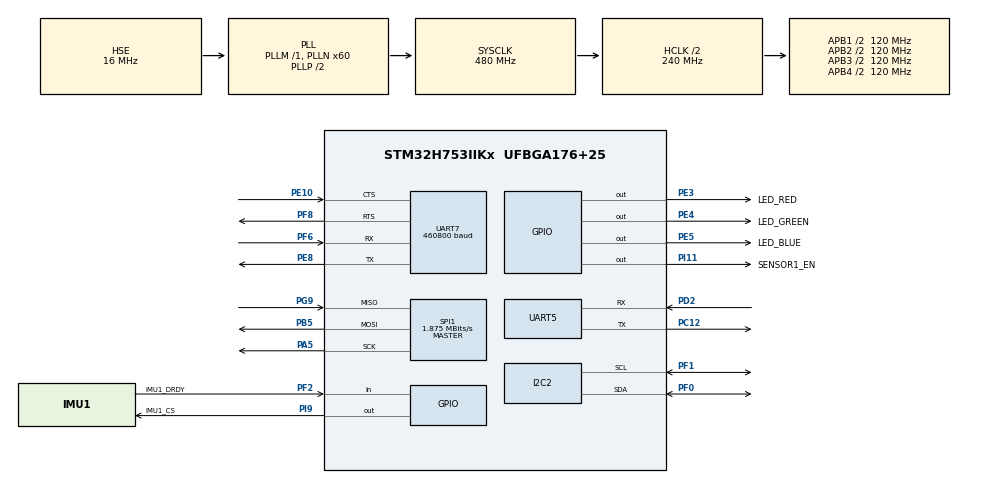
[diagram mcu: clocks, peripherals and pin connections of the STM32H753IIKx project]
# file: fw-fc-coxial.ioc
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CORTEX_M7.default_mode_Activation=1
FREERTOS.Tasks01=Led_Blink,24,1024,Led_blink,Default,NULL,Dynamic,NULL,NULL;IMU_Task,49,256,IMU_task,Default,NULL,Dynamic,NULL,NULL;Barometers_Task,43,256,Barometers_task,Default,NULL,Dynamic,NULL,NULL;Op_Flo_Task,43,256,Op_Flo_task,Default,NULL,Dynamic,NULL,NULL
FREERTOS.configTOTAL_HEAP_SIZE=30000
FREERTOS.configUSE_NEWLIB_REENTRANT=1
I2C2.Timing=0x307075B1
Mcu.Family=STM32H7
Mcu.Name=STM32H753IIKx
Mcu.Package=UFBGA176+25
NVIC.PriorityGroup=NVIC_PRIORITYGROUP_4
NVIC.TIM17_IRQn=true\:15\:0\:false\:false\:true\:false\:false\:true\:true
NVIC.TimeBase=TIM17_IRQn
NVIC.TimeBaseIP=TIM17
NVIC.UART5_IRQn=true\:5\:0\:false\:false\:true\:true\:true\:true\:true
NVIC.UART7_IRQn=true\:5\:0\:false\:false\:true\:true\:true\:true\:true
PA13\ (JTMS/SWDIO).Mode=Serial_Wire
PA13\ (JTMS/SWDIO).Signal=DEBUG_JTMS-SWDIO
PA14\ (JTCK/SWCLK).Mode=Serial_Wire
PA14\ (JTCK/SWCLK).Signal=DEBUG_JTCK-SWCLK
PA5.Mode=Full_Duplex_Master
PA5.Signal=SPI1_SCK
PB5.Mode=Full_Duplex_Master
PB5.Signal=SPI1_MOSI
PC12.Mode=Asynchronous
PC12.Signal=UART5_TX
PD2.Mode=Asynchronous
PD2.Signal=UART5_RX
PE10.Mode=CTS_RTS
PE10.Signal=UART7_CTS
PE3.GPIO_Label=LED_RED
PE3.Signal=GPIO_Output
PE4.GPIO_Label=LED_GREEN
PE4.Signal=GPIO_Output
PE5.GPIO_Label=LED_BLUE
PE5.Signal=GPIO_Output
PE8.Mode=Asynchronous
PE8.Signal=UART7_TX
PF0.Mode=I2C
PF0.Signal=I2C2_SDA
PF1.Mode=I2C
PF1.Signal=I2C2_SCL
PF2.GPIO_Label=IMU1_DRDY
PF2.Signal=GPIO_Input
PF6.Mode=Asynchronous
PF6.Signal=UART7_RX
PF8.Mode=CTS_RTS
PF8.Signal=UART7_RTS
PG9.Mode=Full_Duplex_Master
PG9.Signal=SPI1_MISO
PH0-OSC_IN\ (PH0).Mode=HSE-External-Oscillator
PH0-OSC_IN\ (PH0).Signal=RCC_OSC_IN
PH1-OSC_OUT\ (PH1).Mode=HSE-External-Oscillator
PH1-OSC_OUT\ (PH1).Signal=RCC_OSC_OUT
PI11.GPIO_Label=SENSOR1_EN
PI11.Signal=GPIO_Output
PI9.GPIO_Label=IMU1_CS
PI9.PinState=GPIO_PIN_SET
PI9.Signal=GPIO_Output
ProjectManager.HeapSize=0x200
ProjectManager.StackSize=0x400
ProjectManager.TargetToolchain=STM32CubeIDE
RCC.ADCFreq_Value=32250000
RCC.APB1Freq_Value=120000000
RCC.APB2Freq_Value=120000000
RCC.APB3Freq_Value=120000000
RCC.APB4Freq_Value=120000000
RCC.CortexFreq_Value=480000000
RCC.D1PPRE=RCC_APB3_DIV2
RCC.D2PPRE1=RCC_APB1_DIV2
RCC.D2PPRE2=RCC_APB2_DIV2
RCC.D3PPRE=RCC_APB4_DIV2
RCC.DIVM1=1
RCC.DIVN1=60
RCC.DIVQ1=8
RCC.HCLKFreq_Value=240000000
RCC.HPRE=RCC_HCLK_DIV2
RCC.HSE_VALUE=16000000
RCC.PLL2FRACN=0
RCC.PLL3FRACN=0
RCC.PLLFRACN=0
RCC.PLLSourceVirtual=RCC_PLLSOURCE_HSE
RCC.SYSCLKFreq_VALUE=480000000
RCC.SYSCLKSource=RCC_SYSCLKSOURCE_PLLCLK
RCC.USBFreq_Value=120000000
SPI1.BaudRatePrescaler=SPI_BAUDRATEPRESCALER_64
SPI1.CLKPhase=SPI_PHASE_2EDGE
SPI1.CLKPolarity=SPI_POLARITY_HIGH
SPI1.CalculateBaudRate=1.875 MBits/s
SPI1.DataSize=SPI_DATASIZE_8BIT
SPI1.Direction=SPI_DIRECTION_2LINES
SPI1.MasterKeepIOState=SPI_MASTER_KEEP_IO_STATE_ENABLE
SPI1.Mode=SPI_MODE_MASTER
SPI1.NSSPMode=SPI_NSS_PULSE_DISABLE
SPI1.VirtualType=VM_MASTER
UART7.BaudRate=460800
VP_FREERTOS_VS_CMSIS_V2.Mode=CMSIS_V2
VP_MEMORYMAP_VS_MEMORYMAP.Mode=CurAppReg
VP_SYS_VS_tim17.Mode=TIM17
board=custom

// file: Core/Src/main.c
/* USER CODE BEGIN Header */
/**
  ******************************************************************************
  * @file           : main.c
  * @brief          : Main program body
  ******************************************************************************
  * @attention
  *
  * Copyright (c) 2026 STMicroelectronics.
  * All rights reserved.
  *
  * This software is licensed under terms that can be found in the LICENSE file
  * in the root directory of this software component.
  * If no LICENSE file comes with this software, it is provided AS-IS.
  *
  ******************************************************************************
  */
/* USER CODE END Header */
#include "main.h"
#include "cmsis_os.h"

/* USER CODE BEGIN Includes */
#include "drivers/icm45686/icm45686.h"
#include "drivers/bmp388/bmp388.h"
#include "drivers/MTF-01P/mtf01p.h"
#include "protocol/mavlink/mavlink.h"
#include "math/filter/filter.h"
#include "task.h"
#include <math.h>

/* USER CODE END Includes */

/* USER CODE BEGIN PTD */
// Struct 12 trang thai dong hoc drone [x, y, z, vx, vy, vz, roll, pitch, yaw, roll_rate, pitch_rate, yaw_rate]
typedef struct {
  float x, y, z;                         // Vi tri (m), Z duong huong len
  float vx, vy, vz;                      // Van toc dai (m/s), Vz duong huong len
  float roll, pitch, yaw;                // Goc Euler (deg)
  float roll_rate, pitch_rate, yaw_rate; // Toc do goc (deg/s)
} drone_state_t;

/* USER CODE END PTD */

/* USER CODE BEGIN PD */
#define DEG2RAD                 0.0174532925f // He so doi tu deg sang rad (pi / 180)
#define IMU_ACCEL_DEADBAND      0.04f         // 2-sigma theo datasheet ICM-45686 (70 ug/sqrt(Hz) qua LPF 25Hz ~ 4mg)
#define TOF_ALT_NOISE           0.012f        // Sai so chuan ToF (1.2 cm) -> tin ToF rat cao so voi IMU

// Tham so EKF mat phang ngang X/Y:
#define FLOW_ACC_NOISE          0.35f         // Nhieu gia toc IMU (m/s^2)
#define FLOW_ACC_B_NOISE        0.003f        // Nhieu bias gia toc (m/s^3)
#define FLOW_VEL_NOISE          0.10f         // Sai so do luong van toc quang hoc co dinh (0.10 m/s)
/* USER CODE END PD */

I2C_HandleTypeDef hi2c2;

SPI_HandleTypeDef hspi1;

UART_HandleTypeDef huart5;
UART_HandleTypeDef huart7;

/* Definitions for Led_Blink */
osThreadId_t Led_BlinkHandle;
const osThreadAttr_t Led_Blink_attributes = {
  .name = "Led_Blink",
  .stack_size = 1024 * 4,
  .priority = (osPriority_t) osPriorityNormal,
};
/* Definitions for IMU_Task */
osThreadId_t IMU_TaskHandle;
const osThreadAttr_t IMU_Task_attributes = {
  .name = "IMU_Task",
  .stack_size = 256 * 4,
  .priority = (osPriority_t) osPriorityRealtime1,
};
/* Definitions for Barometers_Task */
osThreadId_t Barometers_TaskHandle;
const osThreadAttr_t Barometers_Task_attributes = {
  .name = "Barometers_Task",
  .stack_size = 256 * 4,
  .priority = (osPriority_t) osPriorityHigh3,
};
/* Definitions for Op_Flo_Task */
osThreadId_t Op_Flo_TaskHandle;
const osThreadAttr_t Op_Flo_Task_attributes = {
  .name = "Op_Flo_Task",
  .stack_size = 256 * 4,
  .priority = (osPriority_t) osPriorityHigh3,
};
/* USER CODE BEGIN PV */
icm45686_t imu = {
		.hspi = &hspi1,
		.cs_port = IMU1_CS_GPIO_Port,
		.cs_pin = IMU1_CS_Pin
};

HAL_StatusTypeDef imu_status;
mavlink_t mav;

// Bo loc Gyro, Accel va Kalman uoc luong goc
biquad2p_filter_t filter_gyro[3];
biquad2p_filter_t filter_accel[3];
kalman_angle_t    kalman_roll;
kalman_angle_t    kalman_pitch;
float             gyro_bias[3] = {0.0f};

BMP388_t            baro;
bool                baro_status = false;

// Pipeline loc Barometer va EKF do cao doc lap (Chuan PX4 NED: Z-down noi bo, Z-up xuat ra baro_state)
median_filter_t     filter_baro_median;
biquad2p_filter_t   filter_baro;
altitude_ekf_t      baro_ekf;
volatile float      baro_filtered_alt = 0.0f;

// Struct trang thai do cao doc lap cua Barometer
typedef struct {
  float z;   // Do cao uoc luong tu Barometer EKF (m, Z-up)
  float vz;  // Van toc thang dung tu Barometer EKF (m/s, Vz-up)
} baro_state_t;
volatile baro_state_t baro_state = {0};

// Gia toc tuyen tinh chia se tu IMU_task (500 Hz) cho Op_Flo_task va Barometers_task
volatile float      imu_ax_linear    = 0.0f;
volatile float      imu_ay_linear    = 0.0f;
volatile float      imu_az_ned_mps2  = 0.0f;

mtf01p_t            opflow;

// Bo loc Median (chong gai ToF), Biquad LPF ToF va EKF do cao ToF
median_filter_t     filter_tof_median;
biquad2p_filter_t   filter_opflow_z;
altitude_ekf_t      alt_ekf;

// Bo loc Median 3 mau va Biquad LPF bac 2 cho Optical Flow (triet tieu gai va rang cua)
median_filter_t     filter_flow_med_x;
median_filter_t     filter_flow_med_y;
biquad2p_filter_t   filter_flow_lpf_x;
biquad2p_filter_t   filter_flow_lpf_y;

horizontal_ekf_t    ekf_x;
horizontal_ekf_t    ekf_y;
volatile float      flow_meas_vx      = 0.0f;
volatile float      flow_meas_vy      = 0.0f;
volatile float      flow_filt_x       = 0.0f;  // Optical Flow X sau Median + LPF bac 2 (rad/s)
volatile float      flow_filt_y       = 0.0f;  // Optical Flow Y sau Median + LPF bac 2 (rad/s)
volatile float      flow_diff_x       = 0.0f;  // (flow_filt_y - gyro_pitch_rad) khong nhan h (rad/s)
volatile float      flow_diff_y       = 0.0f;  // (-flow_filt_x + gyro_roll_rad) khong nhan h (rad/s)
volatile float      gyro_pitch_rad    = 0.0f;  // Gyro Pitch (rad/s)
volatile float      gyro_roll_rad     = 0.0f;  // Gyro Roll (rad/s)

volatile float      tof_filtered_alt = 0.0f;

volatile drone_state_t drone_state   = {0}; // 12 trang thai chung cho toan bo drone

/* USER CODE END PV */

void SystemClock_Config(void);
static void MPU_Config(void);
static void MX_GPIO_Init(void);
static void MX_SPI1_Init(void);
static void MX_UART7_Init(void);
static void MX_I2C2_Init(void);
static void MX_UART5_Init(void);
void Led_blink(void *argument);
void IMU_task(void *argument);
void Barometers_task(void *argument);
void Op_Flo_task(void *argument);

int main(void)
{

  /* MPU Configuration--------------------------------------------------------*/
  MPU_Config();

  /* MCU Configuration--------------------------------------------------------*/

  /* Reset of all peripherals, Initializes the Flash interface and the Systick. */
  HAL_Init();

  /* Configure the system clock */
  SystemClock_Config();

  /* Initialize all configured peripherals */
  MX_GPIO_Init();
  MX_SPI1_Init();
  MX_UART7_Init();
  MX_I2C2_Init();
  MX_UART5_Init();
  /* USER CODE BEGIN 2 */
  CoreDebug->DEMCR |= CoreDebug_DEMCR_TRCENA_Msk;
  DWT->CTRL |= DWT_CTRL_CYCCNTENA_Msk;

  // Bat toan bo nguon sensor (Sensor 1..4, Baro)
  __HAL_RCC_GPIOE_CLK_ENABLE();
  __HAL_RCC_GPIOF_CLK_ENABLE();
  __HAL_RCC_GPIOG_CLK_ENABLE();
  GPIO_InitTypeDef pwr_init = { .Mode = GPIO_MODE_OUTPUT_PP, .Pull = GPIO_NOPULL, .Speed = GPIO_SPEED_FREQ_LOW };
  pwr_init.Pin = GPIO_PIN_4; HAL_GPIO_Init(GPIOF, &pwr_init); HAL_GPIO_WritePin(GPIOF, GPIO_PIN_4, GPIO_PIN_SET);
  pwr_init.Pin = GPIO_PIN_7; HAL_GPIO_Init(GPIOE, &pwr_init); HAL_GPIO_WritePin(GPIOE, GPIO_PIN_7, GPIO_PIN_SET);
  pwr_init.Pin = GPIO_PIN_8; HAL_GPIO_Init(GPIOG, &pwr_init); HAL_GPIO_WritePin(GPIOG, GPIO_PIN_8, GPIO_PIN_SET);
  HAL_GPIO_WritePin(SENSOR1_EN_GPIO_Port, SENSOR1_EN_Pin, GPIO_PIN_SET); // bat nguon imu1
  HAL_Delay(20);

  imu_status = icm45686_init(&imu);

  // Khoi tao thu vien MAVLink tren UART7
  mavlink_init(&mav, &huart7);
  mtf01p_init(&opflow, &huart5);

  /* USER CODE END 2 */

  /* Init scheduler */
  osKernelInitialize();

  /* Create the thread(s) */
  /* creation of Led_Blink */
  Led_BlinkHandle = osThreadNew(Led_blink, NULL, &Led_Blink_attributes);

  /* creation of IMU_Task */
  IMU_TaskHandle = osThreadNew(IMU_task, NULL, &IMU_Task_attributes);

  /* creation of Barometers_Task */
  Barometers_TaskHandle = osThreadNew(Barometers_task, NULL, &Barometers_Task_attributes);

  /* creation of Op_Flo_Task */
  Op_Flo_TaskHandle = osThreadNew(Op_Flo_task, NULL, &Op_Flo_Task_attributes);

  /* Start scheduler */
  osKernelStart();

  /* We should never get here as control is now taken by the scheduler */

  /* Infinite loop */
  while (1)
  {

    /* USER CODE BEGIN 3 */
	  // Ngat UART tu dong bat byte o che do ngam (background), khong can ham doc o day nua!
//	  if(imu_status == HAL_OK){
//		  icm45686_read(&imu);
//	  }
//
//	  if(HAL_GetTick() - t_led >= 500){
//		  t_led += 500;
//		  HAL_GPIO_TogglePin(LED_GREEN_GPIO_Port, LED_GREEN_Pin);
//	  }

  }
  /* USER CODE END 3 */
}

void SystemClock_Config(void)
{
  RCC_OscInitTypeDef RCC_OscInitStruct = {0};
  RCC_ClkInitTypeDef RCC_ClkInitStruct = {0};

  /** Supply configuration update enable
  */
  HAL_PWREx_ConfigSupply(PWR_LDO_SUPPLY);

  /** Configure the main internal regulator output voltage
  */
  __HAL_PWR_VOLTAGESCALING_CONFIG(PWR_REGULATOR_VOLTAGE_SCALE0);

  while(!__HAL_PWR_GET_FLAG(PWR_FLAG_VOSRDY)) {}

  /** Initializes the RCC Oscillators according to the specified parameters
  * in the RCC_OscInitTypeDef structure.
  */
  RCC_OscInitStruct.OscillatorType = RCC_OSCILLATORTYPE_HSE;
  RCC_OscInitStruct.HSEState = RCC_HSE_ON;
  RCC_OscInitStruct.PLL.PLLState = RCC_PLL_ON;
  RCC_OscInitStruct.PLL.PLLSource = RCC_PLLSOURCE_HSE;
  RCC_OscInitStruct.PLL.PLLM = 1;
  RCC_OscInitStruct.PLL.PLLN = 60;
  RCC_OscInitStruct.PLL.PLLP = 2;
  RCC_OscInitStruct.PLL.PLLQ = 8;
  RCC_OscInitStruct.PLL.PLLR = 2;
  RCC_OscInitStruct.PLL.PLLRGE = RCC_PLL1VCIRANGE_3;
  RCC_OscInitStruct.PLL.PLLVCOSEL = RCC_PLL1VCOWIDE;
  RCC_OscInitStruct.PLL.PLLFRACN = 0;
  if (HAL_RCC_OscConfig(&RCC_OscInitStruct) != HAL_OK)
  {
    Error_Handler();
  }

  /** Initializes the CPU, AHB and APB buses clocks
  */
  RCC_ClkInitStruct.ClockType = RCC_CLOCKTYPE_HCLK|RCC_CLOCKTYPE_SYSCLK
                              |RCC_CLOCKTYPE_PCLK1|RCC_CLOCKTYPE_PCLK2
                              |RCC_CLOCKTYPE_D3PCLK1|RCC_CLOCKTYPE_D1PCLK1;
  RCC_ClkInitStruct.SYSCLKSource = RCC_SYSCLKSOURCE_PLLCLK;
  RCC_ClkInitStruct.SYSCLKDivider = RCC_SYSCLK_DIV1;
  RCC_ClkInitStruct.AHBCLKDivider = RCC_HCLK_DIV2;
  RCC_ClkInitStruct.APB3CLKDivider = RCC_APB3_DIV2;
  RCC_ClkInitStruct.APB1CLKDivider = RCC_APB1_DIV2;
  RCC_ClkInitStruct.APB2CLKDivider = RCC_APB2_DIV2;
  RCC_ClkInitStruct.APB4CLKDivider = RCC_APB4_DIV2;

  if (HAL_RCC_ClockConfig(&RCC_ClkInitStruct, FLASH_LATENCY_4) != HAL_OK)
  {
    Error_Handler();
  }
}

static void MX_I2C2_Init(void)
{

  hi2c2.Instance = I2C2;
  hi2c2.Init.Timing = 0x307075B1;
  hi2c2.Init.OwnAddress1 = 0;
  hi2c2.Init.AddressingMode = I2C_ADDRESSINGMODE_7BIT;
  hi2c2.Init.DualAddressMode = I2C_DUALADDRESS_DISABLE;
  hi2c2.Init.OwnAddress2 = 0;
  hi2c2.Init.OwnAddress2Masks = I2C_OA2_NOMASK;
  hi2c2.Init.GeneralCallMode = I2C_GENERALCALL_DISABLE;
  hi2c2.Init.NoStretchMode = I2C_NOSTRETCH_DISABLE;
  if (HAL_I2C_Init(&hi2c2) != HAL_OK)
  {
    Error_Handler();
  }

  /** Configure Analogue filter
  */
  if (HAL_I2CEx_ConfigAnalogFilter(&hi2c2, I2C_ANALOGFILTER_ENABLE) != HAL_OK)
  {
    Error_Handler();
  }

  /** Configure Digital filter
  */
  if (HAL_I2CEx_ConfigDigitalFilter(&hi2c2, 0) != HAL_OK)
  {
    Error_Handler();
  }

}

static void MX_SPI1_Init(void)
{

  /* SPI1 parameter configuration*/
  hspi1.Instance = SPI1;
  hspi1.Init.Mode = SPI_MODE_MASTER;
  hspi1.Init.Direction = SPI_DIRECTION_2LINES;
  hspi1.Init.DataSize = SPI_DATASIZE_8BIT;
  hspi1.Init.CLKPolarity = SPI_POLARITY_HIGH;
  hspi1.Init.CLKPhase = SPI_PHASE_2EDGE;
  hspi1.Init.NSS = SPI_NSS_SOFT;
  hspi1.Init.BaudRatePrescaler = SPI_BAUDRATEPRESCALER_64;
  hspi1.Init.FirstBit = SPI_FIRSTBIT_MSB;
  hspi1.Init.TIMode = SPI_TIMODE_DISABLE;
  hspi1.Init.CRCCalculation = SPI_CRCCALCULATION_DISABLE;
  hspi1.Init.CRCPolynomial = 0x0;
  hspi1.Init.NSSPMode = SPI_NSS_PULSE_DISABLE;
  hspi1.Init.NSSPolarity = SPI_NSS_POLARITY_LOW;
  hspi1.Init.FifoThreshold = SPI_FIFO_THRESHOLD_01DATA;
  hspi1.Init.TxCRCInitializationPattern = SPI_CRC_INITIALIZATION_ALL_ZERO_PATTERN;
  hspi1.Init.RxCRCInitializationPattern = SPI_CRC_INITIALIZATION_ALL_ZERO_PATTERN;
  hspi1.Init.MasterSSIdleness = SPI_MASTER_SS_IDLENESS_00CYCLE;
  hspi1.Init.MasterInterDataIdleness = SPI_MASTER_INTERDATA_IDLENESS_00CYCLE;
  hspi1.Init.MasterReceiverAutoSusp = SPI_MASTER_RX_AUTOSUSP_DISABLE;
  hspi1.Init.MasterKeepIOState = SPI_MASTER_KEEP_IO_STATE_ENABLE;
  hspi1.Init.IOSwap = SPI_IO_SWAP_DISABLE;
  if (HAL_SPI_Init(&hspi1) != HAL_OK)
  {
    Error_Handler();
  }

}

static void MX_UART5_Init(void)
{

  huart5.Instance = UART5;
  huart5.Init.BaudRate = 115200;
  huart5.Init.WordLength = UART_WORDLENGTH_8B;
  huart5.Init.StopBits = UART_STOPBITS_1;
  huart5.Init.Parity = UART_PARITY_NONE;
  huart5.Init.Mode = UART_MODE_TX_RX;
  huart5.Init.HwFlowCtl = UART_HWCONTROL_NONE;
  huart5.Init.OverSampling = UART_OVERSAMPLING_16;
  huart5.Init.OneBitSampling = UART_ONE_BIT_SAMPLE_DISABLE;
  huart5.Init.ClockPrescaler = UART_PRESCALER_DIV1;
  huart5.AdvancedInit.AdvFeatureInit = UART_ADVFEATURE_NO_INIT;
  if (HAL_UART_Init(&huart5) != HAL_OK)
  {
    Error_Handler();
  }
  if (HAL_UARTEx_SetTxFifoThreshold(&huart5, UART_TXFIFO_THRESHOLD_1_8) != HAL_OK)
  {
    Error_Handler();
  }
  if (HAL_UARTEx_SetRxFifoThreshold(&huart5, UART_RXFIFO_THRESHOLD_1_8) != HAL_OK)
  {
    Error_Handler();
  }
  if (HAL_UARTEx_DisableFifoMode(&huart5) != HAL_OK)
  {
    Error_Handler();
  }

}

static void MX_UART7_Init(void)
{

  huart7.Instance = UART7;
  huart7.Init.BaudRate = 460800;
  huart7.Init.WordLength = UART_WORDLENGTH_8B;
  huart7.Init.StopBits = UART_STOPBITS_1;
  huart7.Init.Parity = UART_PARITY_NONE;
  huart7.Init.Mode = UART_MODE_TX_RX;
  huart7.Init.HwFlowCtl = UART_HWCONTROL_RTS_CTS;
  huart7.Init.OverSampling = UART_OVERSAMPLING_16;
  huart7.Init.OneBitSampling = UART_ONE_BIT_SAMPLE_DISABLE;
  huart7.Init.ClockPrescaler = UART_PRESCALER_DIV1;
  huart7.AdvancedInit.AdvFeatureInit = UART_ADVFEATURE_NO_INIT;
  if (HAL_UART_Init(&huart7) != HAL_OK)
  {
    Error_Handler();
  }
  if (HAL_UARTEx_SetTxFifoThreshold(&huart7, UART_TXFIFO_THRESHOLD_1_8) != HAL_OK)
  {
    Error_Handler();
  }
  if (HAL_UARTEx_SetRxFifoThreshold(&huart7, UART_RXFIFO_THRESHOLD_1_8) != HAL_OK)
  {
    Error_Handler();
  }
  if (HAL_UARTEx_DisableFifoMode(&huart7) != HAL_OK)
  {
    Error_Handler();
  }

}

static void MX_GPIO_Init(void)
{
  GPIO_InitTypeDef GPIO_InitStruct = {0};

  /* GPIO Ports Clock Enable */
  __HAL_RCC_GPIOE_CLK_ENABLE();
  __HAL_RCC_GPIOB_CLK_ENABLE();
  __HAL_RCC_GPIOC_CLK_ENABLE();
  __HAL_RCC_GPIOA_CLK_ENABLE();
  __HAL_RCC_GPIOG_CLK_ENABLE();
  __HAL_RCC_GPIOI_CLK_ENABLE();
  __HAL_RCC_GPIOD_CLK_ENABLE();
  __HAL_RCC_GPIOF_CLK_ENABLE();
  __HAL_RCC_GPIOH_CLK_ENABLE();

  /*Configure GPIO pin Output Level */
  HAL_GPIO_WritePin(GPIOE, LED_RED_Pin|LED_GREEN_Pin|LED_BLUE_Pin, GPIO_PIN_RESET);

  /*Configure GPIO pin Output Level */
  HAL_GPIO_WritePin(IMU1_CS_GPIO_Port, IMU1_CS_Pin, GPIO_PIN_SET);

  /*Configure GPIO pin Output Level */
  HAL_GPIO_WritePin(SENSOR1_EN_GPIO_Port, SENSOR1_EN_Pin, GPIO_PIN_RESET);

  /*Configure GPIO pins : LED_RED_Pin LED_GREEN_Pin LED_BLUE_Pin */
  GPIO_InitStruct.Pin = LED_RED_Pin|LED_GREEN_Pin|LED_BLUE_Pin;
  GPIO_InitStruct.Mode = GPIO_MODE_OUTPUT_PP;
  GPIO_InitStruct.Pull = GPIO_NOPULL;
  GPIO_InitStruct.Speed = GPIO_SPEED_FREQ_LOW;
  HAL_GPIO_Init(GPIOE, &GPIO_InitStruct);

  /*Configure GPIO pins : IMU1_CS_Pin SENSOR1_EN_Pin */
  GPIO_InitStruct.Pin = IMU1_CS_Pin|SENSOR1_EN_Pin;
  GPIO_InitStruct.Mode = GPIO_MODE_OUTPUT_PP;
  GPIO_InitStruct.Pull = GPIO_NOPULL;
  GPIO_InitStruct.Speed = GPIO_SPEED_FREQ_LOW;
  HAL_GPIO_Init(GPIOI, &GPIO_InitStruct);

  /*Configure GPIO pin : IMU1_DRDY_Pin */
  GPIO_InitStruct.Pin = IMU1_DRDY_Pin;
  GPIO_InitStruct.Mode = GPIO_MODE_INPUT;
  GPIO_InitStruct.Pull = GPIO_NOPULL;
  HAL_GPIO_Init(IMU1_DRDY_GPIO_Port, &GPIO_InitStruct);

}

/* USER CODE BEGIN 4 */
void HAL_UART_RxCpltCallback(UART_HandleTypeDef *huart)
{
	if (huart->Instance == UART7)
	{
		mavlink_uart_rx_callback(&mav);
	}
	else if (huart->Instance == UART5)
	{
		mtf01p_uart_rx_callback(&opflow);
	}
}

void HAL_UART_ErrorCallback(UART_HandleTypeDef *huart)
{
	if (huart->Instance == UART7)
	{
		mavlink_uart_error_callback(&mav);
	}
	else if (huart->Instance == UART5)
	{
		mtf01p_uart_error_callback(&opflow);
	}
}
/* USER CODE END 4 */

void Led_blink(void *argument)
{
  /* USER CODE BEGIN 5 */
  uint32_t last_time = HAL_GetTick();
  for(;;)
  {
	  HAL_GPIO_TogglePin(LED_RED_GPIO_Port, LED_RED_Pin);

	  uint32_t now = HAL_GetTick();
	  uint32_t dt_ms = now - last_time;
	  if (dt_ms >= 1000) {
		  last_time = now;
		  uint32_t cnt = count_rc_mavlink;
		  count_rc_mavlink = 0;
		  rc_mavlink_hz = (float)cnt * 1000.0f / (float)dt_ms;
	  }

	  vTaskDelay(1000);
  }
  /* USER CODE END 5 */
}

void IMU_task(void *argument)
{
  /* USER CODE BEGIN IMU_task */
  CoreDebug->DEMCR |= CoreDebug_DEMCR_TRCENA_Msk;
  DWT->CTRL |= DWT_CTRL_CYCCNTENA_Msk;

  for (int i = 0; i < 3; i++) {
    biquad2p_filter_init(&filter_gyro[i], 92.0f, 500.0f);
    biquad2p_filter_init(&filter_accel[i], 25.0f, 500.0f); // LPF 25 Hz triet rung motor
  }
  biquad2p_filter_reset(&filter_accel[2], 1.0f); // Dat san 1g cho truc Z khi de yen tren ban
  kalman_angle_init(&kalman_roll,  0.0015f, 0.003f, 0.03f);
  kalman_angle_init(&kalman_pitch, 0.0015f, 0.003f, 0.03f);
  icm45686_calibrate_gyro(&imu, gyro_bias);

  uint32_t last_cycle = DWT->CYCCNT;

  for(;;)
  {
    uint32_t now_cycle = DWT->CYCCNT;
    float dt = (float)(now_cycle - last_cycle) / (float)SystemCoreClock;
    last_cycle = now_cycle;
    if (dt <= 0.0f || dt > 0.05f) dt = 0.002f;

    if (imu_status == HAL_OK) {
      icm45686_read(&imu);

      // 1. Anh xa truc (ROTATION_ROLL_180_YAW_90) + Loc Gyro (92 Hz) & Accel (25 Hz)
      drone_state.roll_rate  = biquad2p_filter_apply(&filter_gyro[0], -imu.gyro_dps[1] - gyro_bias[0]);
      drone_state.pitch_rate = biquad2p_filter_apply(&filter_gyro[1],  imu.gyro_dps[0] - gyro_bias[1]);
      drone_state.yaw_rate   = biquad2p_filter_apply(&filter_gyro[2], -imu.gyro_dps[2] - gyro_bias[2]);

      float ax = biquad2p_filter_apply(&filter_accel[0], -imu.accel_g[1]);
      float ay = biquad2p_filter_apply(&filter_accel[1], -imu.accel_g[0]);
      float az = biquad2p_filter_apply(&filter_accel[2], -imu.accel_g[2]);

      // 2. Kalman Roll/Pitch & tich phan Yaw
      drone_state.roll  = kalman_angle_update(&kalman_roll,
                                              atan2f(ay, az) * 57.29578f,
                                              drone_state.roll_rate, dt);
      drone_state.pitch = kalman_angle_update(&kalman_pitch,
                                              atan2f(ax, sqrtf(ay * ay + az * az)) * 57.29578f,
                                              drone_state.pitch_rate, dt);

      if (fabsf(drone_state.yaw_rate) > 0.05f) {
        drone_state.yaw += drone_state.yaw_rate * dt;
        if (drone_state.yaw >  180.0f) drone_state.yaw -= 360.0f;
        if (drone_state.yaw < -180.0f) drone_state.yaw += 360.0f;
      }

      // 3. Tinh gia toc tuyen tinh chia se cho Op_Flo_task (100 Hz) va Barometers_task (50 Hz)
      float sin_p = sinf(drone_state.pitch * DEG2RAD);
      float cos_p = cosf(drone_state.pitch * DEG2RAD);
      float sin_r = sinf(drone_state.roll  * DEG2RAD);
      float cos_r = cosf(drone_state.roll  * DEG2RAD);

      imu_ax_linear   = (ax + sin_p) * 9.80665f;
      imu_ay_linear   = (ay - sin_r * cos_p) * 9.80665f;
      imu_az_ned_mps2 = (1.0f - ((ax * sin_p) + (ay * sin_r * cos_p) + (az * cos_r * cos_p))) * 9.80665f;
    }

    vTaskDelay(2);
  }
  /* USER CODE END IMU_task */
}

void Barometers_task(void *argument)
{
  /* USER CODE BEGIN Barometers_task */
  median_filter_init(&filter_baro_median, 3);
  biquad2p_filter_init(&filter_baro, 10.0f, 50.0f);
  altitude_ekf_init(&baro_ekf, 2.0f, 0.01f, 0.25f);

  baro_status = BMP388_Init(&baro, &hi2c2);
  if (baro_status) {
    BMP388_CalibrateGround(&baro, 50);
    median_filter_reset(&filter_baro_median, baro.altitude_m);
    biquad2p_filter_reset(&filter_baro, baro.altitude_m);
    altitude_ekf_reset(&baro_ekf, -baro.altitude_m); // PX4 NED: Z = -altitude
  }

  /* Infinite loop */
  for(;;)
  {
    if (baro_status) {
      BMP388_ReadData(&baro);

      // Loc trung vi 3 mau
      baro_filtered_alt = median_filter_apply(&filter_baro_median, baro.altitude_m);

      // Kalman EKF do cao doc lap cho Barometer @ 50 Hz (dt = 0.02s)
      float az = imu_az_ned_mps2;
      if (fabsf(az - baro_ekf.accel_bias) < IMU_ACCEL_DEADBAND) {
        az = baro_ekf.accel_bias;
      }
      altitude_ekf_predict(&baro_ekf, az, 0.02f);
      altitude_ekf_update_baro(&baro_ekf, -baro_filtered_alt);

      // Luu vao struct rieng baro_state, khong ghi vao 12 trang thai drone_state
      baro_state.z  = -baro_ekf.z;
      baro_state.vz = -baro_ekf.vz;
    }
    vTaskDelay(20); // 50 Hz ODR cua BMP388
  }
  /* USER CODE END Barometers_task */
}

void Op_Flo_task(void *argument)
{
  /* USER CODE BEGIN Op_Flo_task */
  CoreDebug->DEMCR |= CoreDebug_DEMCR_TRCENA_Msk;
  DWT->CTRL |= DWT_CTRL_CYCCNTENA_Msk;
  uint32_t last_cycle = DWT->CYCCNT;

  // Khoi tao bo loc trung vi (3 mau) va LPF bac 2 cho ToF (Cutoff 8 Hz @ 100 Hz Fs)
  median_filter_init(&filter_tof_median, 3);
  biquad2p_filter_init(&filter_opflow_z, 8.0f, 100.0f);
  median_filter_reset(&filter_tof_median, (float)opflow.raw_distance_cm * 0.01f);
  biquad2p_filter_reset(&filter_opflow_z, (float)opflow.raw_distance_cm * 0.01f);

  // Khoi tao bo loc Median (3 mau) va LPF bac 2 (Cutoff 20 Hz @ 100 Hz Fs) cho Optical Flow
  median_filter_init(&filter_flow_med_x, 3);
  median_filter_init(&filter_flow_med_y, 3);
  biquad2p_filter_init(&filter_flow_lpf_x, 20.0f, 100.0f);
  biquad2p_filter_init(&filter_flow_lpf_y, 20.0f, 100.0f);
  median_filter_reset(&filter_flow_med_x, 0.0f);
  median_filter_reset(&filter_flow_med_y, 0.0f);
  biquad2p_filter_reset(&filter_flow_lpf_x, 0.0f);
  biquad2p_filter_reset(&filter_flow_lpf_y, 0.0f);

  // Khoi tao EKF do cao ToF va EKF mat phang ngang X/Y @ 100 Hz
  altitude_ekf_init(&alt_ekf, 5.0f, 0.02f, 2.5f);
  horizontal_ekf_init(&ekf_x, FLOW_ACC_NOISE, FLOW_ACC_B_NOISE, FLOW_VEL_NOISE);
  horizontal_ekf_init(&ekf_y, FLOW_ACC_NOISE, FLOW_ACC_B_NOISE, FLOW_VEL_NOISE);

  /* Infinite loop @ 100 Hz */
  for(;;)
  {
    uint32_t now_cycle = DWT->CYCCNT;
    float dt = (float)(now_cycle - last_cycle) / (float)SystemCoreClock;
    last_cycle = now_cycle;
    if (dt <= 0.0f || dt > 0.1f) dt = 0.01f;

    // 0. Doc toan bo byte tu buffer trung gian va giai ma frame MAVLink
    mtf01p_update(&opflow);

    // 1. Doc raw do cao tu ToF (cm -> m)
    float raw_h = (float)opflow.raw_distance_cm * 0.01f;

    // 2. Loc trung vi 3 mau (triet tieu gai nhon) -> Loc thong thap LPF bac 2
    float med_h = median_filter_apply(&filter_tof_median, raw_h);
    float lpf_h = biquad2p_filter_apply(&filter_opflow_z, med_h);

    // 2b. Bu goc nghieng do cao: chieu thang dung xuong mat dat (Z-height thuc te)
    float tilt = cosf(drone_state.roll * DEG2RAD) * cosf(drone_state.pitch * DEG2RAD);
    float h    = lpf_h * (tilt > 0.5f ? tilt : 0.5f);

    // 2c. Loc Median 3 mau (diet gai) va LPF bac 2 (diet rang cua) cho raw optical flow
    float med_x = median_filter_apply(&filter_flow_med_x, opflow.raw_flow_x);
    float med_y = median_filter_apply(&filter_flow_med_y, opflow.raw_flow_y);
    flow_filt_x = biquad2p_filter_apply(&filter_flow_lpf_x, med_x);
    flow_filt_y = biquad2p_filter_apply(&filter_flow_lpf_y, med_y);

    // 3. Bu toc do goc Gyro cho Optical Flow
    gyro_pitch_rad = drone_state.pitch_rate * DEG2RAD;
    gyro_roll_rad  = drone_state.roll_rate  * DEG2RAD;

    flow_diff_x =  flow_filt_y - gyro_pitch_rad;
    flow_diff_y = -flow_filt_x + gyro_roll_rad;

    // 4. Van toc quang hoc do duoc (m/s)
    flow_meas_vx = flow_diff_x * h;
    flow_meas_vy = flow_diff_y * h;
    tof_filtered_alt = h;

    // 5. Chay Kalman EKF cho X, Y va Z truc tiep tai nhip 100 Hz
    float ax = imu_ax_linear;
    float ay = imu_ay_linear;
    float az = imu_az_ned_mps2;

    if (fabsf(ax - ekf_x.accel_bias) < IMU_ACCEL_DEADBAND) ax = ekf_x.accel_bias;
    if (fabsf(ay - ekf_y.accel_bias) < IMU_ACCEL_DEADBAND) ay = ekf_y.accel_bias;
    if (fabsf(az - alt_ekf.accel_bias) < IMU_ACCEL_DEADBAND) {
      az = alt_ekf.accel_bias;
      alt_ekf.vz *= 0.99f;
      if (fabsf(alt_ekf.vz) < 0.001f) alt_ekf.vz = 0.0f;
    }

    horizontal_ekf_predict(&ekf_x, ax, dt);
    horizontal_ekf_predict(&ekf_y, ay, dt);
    altitude_ekf_predict(&alt_ekf, az, dt);

    if (opflow.raw_distance_cm > 0) {
      horizontal_ekf_update_vel(&ekf_x, flow_meas_vx);
      horizontal_ekf_update_vel(&ekf_y, flow_meas_vy);
      altitude_ekf_update_tof(&alt_ekf, -h, TOF_ALT_NOISE);
    }

    // 6. Luu truc tiep vao bo 12 trang thai chung cua drone
    taskENTER_CRITICAL();
    drone_state.x  = ekf_x.pos;
    drone_state.y  = ekf_y.pos;
    drone_state.vx = ekf_x.vel;
    drone_state.vy = ekf_y.vel;
    drone_state.z  = -alt_ekf.z;
    drone_state.vz = -alt_ekf.vz;
    taskEXIT_CRITICAL();

    vTaskDelay(10); // 100 Hz
  }
  /* USER CODE END Op_Flo_task */
}

 /* MPU Configuration */

void MPU_Config(void)
{
  MPU_Region_InitTypeDef MPU_InitStruct = {0};

  /* Disables the MPU */
  HAL_MPU_Disable();

  /** Initializes and configures the Region and the memory to be protected
  */
  MPU_InitStruct.Enable = MPU_REGION_ENABLE;
  MPU_InitStruct.Number = MPU_REGION_NUMBER0;
  MPU_InitStruct.BaseAddress = 0x0;
  MPU_InitStruct.Size = MPU_REGION_SIZE_4GB;
  MPU_InitStruct.SubRegionDisable = 0x87;
  MPU_InitStruct.TypeExtField = MPU_TEX_LEVEL0;
  MPU_InitStruct.AccessPermission = MPU_REGION_NO_ACCESS;
  MPU_InitStruct.DisableExec = MPU_INSTRUCTION_ACCESS_DISABLE;
  MPU_InitStruct.IsShareable = MPU_ACCESS_SHAREABLE;
  MPU_InitStruct.IsCacheable = MPU_ACCESS_NOT_CACHEABLE;
  MPU_InitStruct.IsBufferable = MPU_ACCESS_NOT_BUFFERABLE;

  HAL_MPU_ConfigRegion(&MPU_InitStruct);
  /* Enables the MPU */
  HAL_MPU_Enable(MPU_PRIVILEGED_DEFAULT);

}

void HAL_TIM_PeriodElapsedCallback(TIM_HandleTypeDef *htim)
{
  if (htim->Instance == TIM17)
  {
    HAL_IncTick();
  }
}

void Error_Handler(void)
{
  __disable_irq();
  while (1)
  {
  }
}
